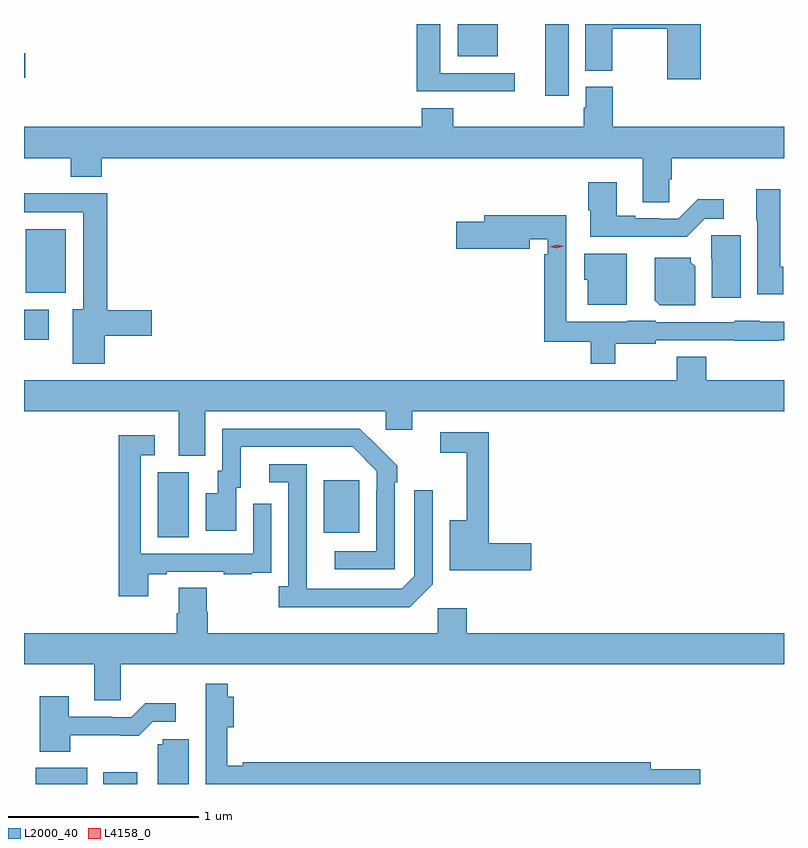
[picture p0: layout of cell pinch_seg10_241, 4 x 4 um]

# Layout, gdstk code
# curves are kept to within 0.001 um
import gdstk
lib = gdstk.Library(unit=1e-6, precision=1e-09)
def R(c, l, rs):  # rectangles x0, y0, x1, y1
    for r in rs: c.add(gdstk.rectangle(r[:2], r[2:], *l))
def P(c, l, *ps):  # polygons
    for p in ps: c.add(gdstk.Polygon(p, *l))
L2000_40 = (2000, 40)
L4158_0 = (4158, 0)

pinch_seg10_241 = lib.new_cell('pinch_seg10_241')
R(pinch_seg10_241, L2000_40, [(579.596,1291.694,579.866,1291.78), (579.951,1291.694,580.129,1291.756), (580.238,1292.992,580.402,1293.336), (581.111,1293.017,581.299,1293.292), (579.534,1294.032,579.664,1294.191), (579.542,1294.28,579.754,1294.615), (582.278,1295.316,582.4,1295.694), (579.534,1295.411,579.541,1295.541), (581.816,1295.525,582.028,1295.694)])
P(pinch_seg10_241, L2000_40, [(583.097,1295.694),(582.488,1295.694),(582.488,1295.449),(582.63,1295.449),(582.63,1295.668),(582.919,1295.668),(582.919,1295.403),(583.097,1295.403)],
  [(582.118,1295.436),(581.725,1295.436),(581.725,1295.694),(581.6,1295.694),(581.6,1295.339),(582.118,1295.339)],
  [(582.93,1294.878),(582.944,1294.878),(582.944,1294.988),(583.534,1294.988),(583.534,1295.152),(582.632,1295.152),(582.632,1295.364),(582.491,1295.364),(582.491,1295.253),(582.479,1295.253),(582.479,1295.152),(581.792,1295.152),(581.792,1295.251),(581.627,1295.251),(581.627,1295.152),(579.534,1295.152),(579.534,1294.988),(579.779,1294.988),(579.779,1294.889),(579.944,1294.889),(579.944,1294.988),(582.791,1294.988),(582.791,1294.756),(582.93,1294.756)],
  [(583.116,1294.668),(583.216,1294.668),(583.216,1294.771),(583.081,1294.771),(582.978,1294.668),(582.878,1294.668),(582.878,1294.671),(582.751,1294.671),(582.751,1294.684),(582.655,1294.684),(582.655,1294.861),(582.503,1294.861),(582.503,1294.713),(582.515,1294.713),(582.515,1294.574),(583.022,1294.574)],
  [(583.531,1294.416),(583.513,1294.416),(583.513,1294.825),(583.388,1294.825),(583.388,1294.662),(583.394,1294.662),(583.394,1294.272),(583.531,1294.272)],
  [(579.958,1294.052),(580.207,1294.052),(580.207,1294.187),(579.971,1294.187),(579.971,1294.802),(579.534,1294.802),(579.534,1294.704),(579.845,1294.704),(579.845,1294.192),(579.791,1294.192),(579.791,1293.906),(579.958,1293.906)],
  [(582.646,1294.01),(582.858,1294.01),(582.858,1294.029),(583.275,1294.029),(583.275,1294.028),(583.507,1294.028),(583.507,1294.029),(583.534,1294.029),(583.534,1294.126),(583.407,1294.126),(583.407,1294.132),(583.275,1294.132),(583.275,1294.125),(582.858,1294.125),(582.858,1294.132),(582.708,1294.132),(582.708,1294.126),(582.387,1294.126),(582.387,1294.687),(581.957,1294.687),(581.957,1294.653),(581.808,1294.653),(581.808,1294.511),(582.196,1294.511),(582.196,1294.562),(582.291,1294.562),(582.291,1294.481),(582.271,1294.481),(582.271,1294.022),(582.517,1294.022),(582.517,1293.905),(582.646,1293.905)],
  [(583.306,1294.581),(583.15,1294.581),(583.15,1294.458),(583.154,1294.458),(583.154,1294.254),(583.306,1294.254)],
  [(582.706,1294.486),(582.482,1294.486),(582.482,1294.347),(582.5,1294.347),(582.5,1294.217),(582.706,1294.217)],
  [(583.066,1294.418),(583.044,1294.44),(583.044,1294.465),(582.854,1294.465),(582.854,1294.24),(582.88,1294.214),(583.066,1294.214)],
  [(580.489,1293.656),(581.439,1293.656),(581.439,1293.558),(581.578,1293.558),(581.578,1293.656),(583.534,1293.656),(583.534,1293.82),(583.125,1293.82),(583.125,1293.944),(582.97,1293.944),(582.97,1293.82),(579.534,1293.82),(579.534,1293.656),(580.349,1293.656),(580.349,1293.421),(580.489,1293.421)],
  [(581.484,1293.281),(581.499,1293.281),(581.499,1293.369),(581.302,1293.564),(580.578,1293.564),(580.578,1293.342),(580.553,1293.342),(580.553,1293.223),(580.49,1293.223),(580.49,1293.027),(580.651,1293.027),(580.651,1293.252),(580.675,1293.252),(580.675,1293.468),(581.263,1293.468),(581.391,1293.339),(581.391,1293.239),(581.388,1293.239),(581.388,1292.919),(581.169,1292.919),(581.169,1292.823),(581.484,1292.823)],
  [(582.205,1292.96),(581.981,1292.96),(581.981,1293.546),(581.724,1293.546),(581.724,1293.438),(581.864,1293.438),(581.864,1293.082),(581.774,1293.082),(581.774,1292.818),(582.205,1292.818)],
  [(580.189,1292.799),(580.285,1292.799),(580.285,1292.811),(580.585,1292.811),(580.585,1292.799),(580.733,1292.799),(580.733,1292.805),(580.835,1292.805),(580.835,1292.914),(580.836,1292.914),(580.836,1293.169),(580.74,1293.169),(580.74,1292.907),(580.149,1292.907),(580.149,1293.423),(580.222,1293.423),(580.222,1293.529),(580.033,1293.529),(580.033,1292.682),(580.189,1292.682)],
  [(581.685,1292.745),(581.685,1293.241),(581.589,1293.241),(581.589,1292.787),(581.523,1292.721),(581.023,1292.721),(581.022,1293.378),(580.824,1293.378),(580.824,1293.282),(580.926,1293.282),(580.926,1292.734),(580.875,1292.734),(580.875,1292.624),(581.564,1292.624)],
  [(580.044,1292.324),(583.534,1292.324),(583.534,1292.488),(581.864,1292.488),(581.864,1292.62),(581.712,1292.62),(581.712,1292.488),(580.502,1292.488),(580.502,1292.601),(580.497,1292.601),(580.497,1292.726),(580.349,1292.726),(580.349,1292.594),(580.337,1292.594),(580.337,1292.488),(579.534,1292.488),(579.534,1292.324),(579.905,1292.324),(579.905,1292.134),(580.044,1292.134)],
  [(583.093,1291.772),(582.832,1291.772),(582.832,1291.808),(580.684,1291.808),(580.684,1291.79),(580.603,1291.79),(580.603,1291.994),(580.637,1291.994),(580.637,1292.152),(580.607,1292.152),(580.607,1292.221),(580.49,1292.221),(580.49,1291.998),(580.491,1291.998),(580.491,1291.694),(583.093,1291.694)],
  [(579.777,1291.95),(580.139,1291.949),(580.212,1292.022),(580.333,1292.022),(580.333,1292.119),(580.171,1292.119),(580.098,1292.046),(579.998,1292.046),(579.998,1292.049),(579.769,1292.049),(579.769,1292.155),(579.617,1292.155),(579.617,1291.865),(579.777,1291.865)],
  [(580.402,1291.929),(580.263,1291.929),(580.263,1291.902),(580.238,1291.902),(580.238,1291.694),(580.402,1291.694)])
P(pinch_seg10_241, L4158_0, [(582.339,1294.513),(582.304,1294.521),(582.304,1294.521),(582.304,1294.522),(582.338,1294.533),(582.373,1294.524),(582.374,1294.524),(582.373,1294.524)])

lib.write_gds('pinch_seg10_241.gds')
